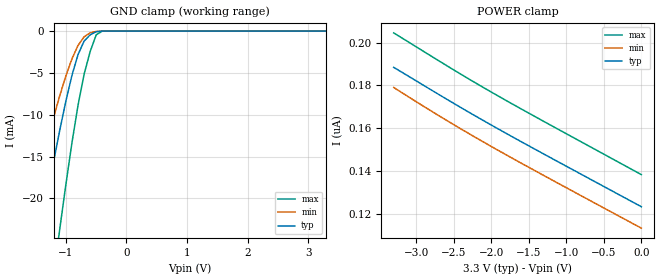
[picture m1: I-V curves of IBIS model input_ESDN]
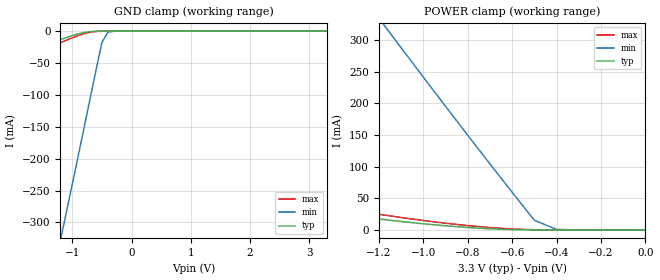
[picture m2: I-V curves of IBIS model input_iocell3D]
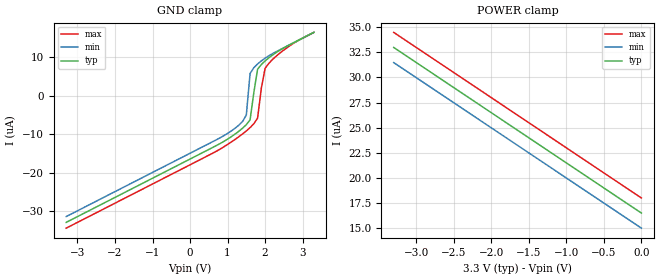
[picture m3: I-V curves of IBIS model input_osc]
[IBIS ver]   2.1
[File name]   k8001.ibs
[File Rev]   0.1
[Date]   3/7/2006
[Source]   Made By 0.18um TSMC HSPICE model.
[Notes]		 Pass Golden Parser ibischk4
[Disclaimer]   This information is for modeling purposes only and is not
   guaranteed.
[Copyright]   Copyright 2006, Micrel - Kendin, All Rights Reserved.
|   Component k8001
[Component]   k8001
[Manufacturer]   TSMC
[Package]
| variable   typ   min   max
R_pkg   0.097   0.083   0.105
L_pkg   2.54nH   2.19nH   2.99nH
C_pkg   0.343pF   0.313pF   0.364pF
| Note: 48 pin. For TQFP only.
[Pin]  signal_name   model_name   R_pin  L_pin  C_pin
  1   MDIO   tri_iocell3_MDIO
  2   MDC   input_iocell3U
  3   RXD3   tri_iocell3D
  4   RXD2   tri_iocell3D
  5   RXD1   tri_iocell3D
  6   RXD0   tri_iocell3D
  7   VDD2   POWER
  8   GND   GND
  9   RXDV   tri_iocell3D
 10   RXC   tri_iocell3D
 11   RXER   tri_iocell3D
 12   GND   GND
 13   VDD   POWER
 14   TXER   input_iocell3D
 15   TXC   tri_iocell3_thruC
 16   TXEN   input_iocell3D
 17   TXD0   input_iocell3D
 18   TXD1   input_iocell3D
 19   TXD2   input_iocell3D
 20   TXD3   input_iocell3D
 21   COL   tri_iocell3D
 22   CRS   tri_iocell3D
 23   GND   GND
 24   VDD2   POWER
 25   INT   tri_iocell3U
 26   LED0   tri_iocell3U
 27   LED1   tri_iocell3UM
 28   LED2   tri_iocell3UM
 29   LED3   tri_iocell3U
 30   PD_N   input_iocell3UH
 31   VDD   POWER
 32   RXM   input_ESDN
 33   RXP   input_ESDN
 34   SD_FXEN   input_ESD_AMK_B
 35   GND   GND
 36   GND   GND
 37   REXT   input_rextpad
 38   VDD   POWER
 39   GND   GND
 40   TXM   input_ESDN
 41   TXP   input_ESDN
 42   NC   NC
 43   NC   NC
 44   GND   GND
 45   XO   output_osc
 46   XI   input_osc
 47   VDD   POWER
 48   RST_N   input_iocell3UH
| Models and submodels in the file (13): input_ESDN (Input), input_iocell3D (Input), input_osc (Input), input_ESD_AMK_B (Input), input_iocell3UH (Input), input_iocell3U (Input), input_rextpad (Input), output_osc (Output), tri_iocell3D (I/O), tri_iocell3UM (I/O), tri_iocell3_thruC (I/O), tri_iocell3U (I/O), tri_iocell3_MDIO (I/O)
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|   Model input_ESDN
[Model]   input_ESDN
Model_type   Input
Polarity   Non-Inverting
Vinl =   0.8V
Vinh =   2.0V
C_comp   1.20e-12F   1.27e-12F   1.17e-12F
[Temperature Range]   25   125   0
[Voltage Range]   3.30V   3.00V   3.60V
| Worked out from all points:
|   GND clamp passes 1 mA (typ) near -0.67 V on its own axis
[POWER_clamp]
| voltage   I(typ)   I(min)   I(max)
-3.3V     188.5nA    179.1nA    204.5nA
-2.6V     173.7nA    163.9nA    189.4nA
-2V       161.6nA    151.6nA    176.9nA
-1.3V     148.1nA    138nA      163.3nA
0V        123.5nA    113.5nA    138.5nA
[GND_clamp]
| voltage   I(typ)   I(min)   I(max)
-3.3V     -98.44mA   -71.27mA   -141.5mA
-1.7V     -35.71mA   -24.51mA   -57.51mA
-1.6V     -31.54mA   -21.53mA   -51.77mA
-1.4V     -23.33mA   -15.72mA   -40.31mA
-1.1V     -11.78mA   -7.679mA   -23.57mA
-900mV    -5.278mA   -3.305mA   -13.33mA
-800mV    -2.808mA   -1.715mA   -8.857mA
-700mV    -1.2mA     -691.7uA   -5.168mA
-600mV    -448uA     -200.9uA   -2.448mA
-500mV    -82.82uA   -38.43uA   -450.4uA
-400mV    -2.528uA   -5.461uA   -9.866uA
3.3V      123.5nA    119.2nA    132.7nA
|   Model input_iocell3D
[Model]   input_iocell3D
Model_type   Input
Polarity   Non-Inverting
Vinl =   0.8V
Vinh =   2.0V
C_comp   2.79e-12F   2.82e-12F   2.71e-12F
[Temperature Range]   25   125   0
[Voltage Range]   3.30V   3.00V   3.60V
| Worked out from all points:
|   GND clamp passes 1 mA (typ) near -0.72 V on its own axis
|   POWER clamp passes 1 mA (typ) near -0.62 V on its own axis
[POWER_clamp]
| voltage   I(typ)   I(min)   I(max)
-3.3V     141.9mA    1.346A     171.1mA
-2.8V     106.5mA    1.1A       130.9mA
-2.2V     68.84mA    809.5mA    87.34mA
-1.7V     40.97mA    570.3mA    54.16mA
-1.2V     17.45mA    334.7mA    24.93mA
-1.1V     13.49mA    288.1mA    19.82mA
-800mV    4.006mA    149.9mA    7.024mA
-600mV    677.1uA    59.74mA    1.65mA
-500mV    219uA      15.42mA    450uA
-400mV    152.3uA    1.024mA    180.2uA
0V        132.1uA    120.1uA    144.1uA
[GND_clamp]
| voltage   I(typ)   I(min)   I(max)
-3.3V     -87.33mA   -1.184A    -99.61mA
-2.4V     -57.17mA   -832.7mA   -67.66mA
-1.2V     -13.23mA   -328mA     -18.1mA
-1.1V     -9.954mA   -284.1mA   -14.15mA
-800mV    -2.098mA   -150.9mA   -3.891mA
-700mV    -752.3uA   -106.1mA   -1.652mA
-500mV    -47.68uA   -17.6mA    -70.23uA
-400mV    -17.52uA   -1.612mA   -19.91uA
-200mV    -8.157uA   -13.69uA   -8.173uA
3.3V      132.1uA    181.2uA    132.1uA
|   Model input_osc
[Model]   input_osc
Model_type   Input
Polarity   Non-Inverting
Vinl =   0.8V
Vinh =   2.0V
C_comp   4.19e-13F   4.52e-13F   4.08e-13F
[Temperature Range]   25   125   0
[Voltage Range]   3.30V   3.00V   3.60V
[POWER_clamp]
| voltage   I(typ)   I(min)   I(max)
-3.3V     32.98uA    31.48uA    34.49uA
-2.2V     27.49uA    25.98uA    28.99uA
-1.6V     24.49uA    22.98uA    25.99uA
0V        16.49uA    14.99uA    17.99uA
[GND_clamp]
| voltage   I(typ)   I(min)   I(max)
-3.3V     -32.96uA   -31.45uA   -34.47uA
800mV     -12.46uA   -10.95uA   -13.9uA
1.4V      -8.45uA    -6.709uA   -9.939uA
1.5V      -7.528uA   -5.011uA   -9.159uA
1.6V      -6.287uA   5.786uA    -8.302uA
1.7V      811.9nA    7.298uA    -7.298uA
1.8V      6.9uA      8.265uA    -5.843uA
1.9V      8.124uA    9.067uA    1.927uA
2V        9.056uA    9.771uA    7.126uA
2.2V      10.6uA     10.96uA    9.445uA
2.5V      12.46uA    12.49uA    11.9uA
3.3V      16.49uA    16.49uA    16.49uA
